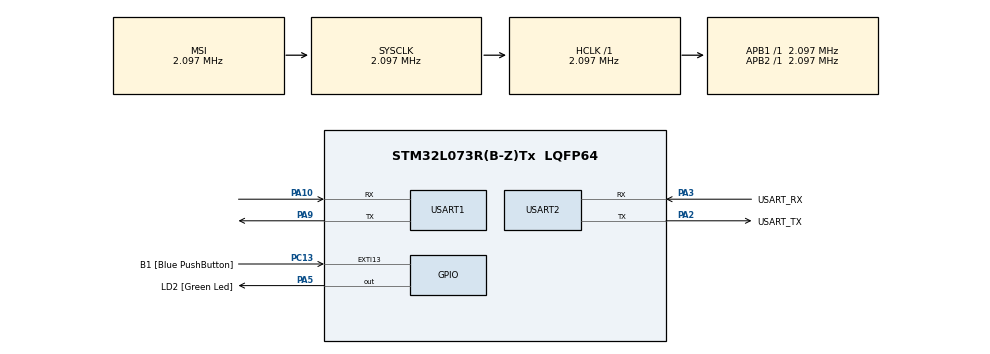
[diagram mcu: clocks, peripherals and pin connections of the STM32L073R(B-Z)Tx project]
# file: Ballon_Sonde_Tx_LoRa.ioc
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Mcu.Family=STM32L0
Mcu.Name=STM32L073R(B-Z)Tx
Mcu.Package=LQFP64
PA10.Mode=Asynchronous
PA10.Signal=USART1_RX
PA13.GPIO_Label=TMS
PA13.Mode=Serial_Wire
PA13.Signal=SYS_SWDIO
PA14.GPIO_Label=TCK
PA14.Mode=Serial_Wire
PA14.Signal=SYS_SWCLK
PA2.GPIO_Label=USART_TX
PA2.Mode=Asynchronous
PA2.Signal=USART2_TX
PA3.GPIO_Label=USART_RX
PA3.Mode=Asynchronous
PA3.Signal=USART2_RX
PA5.GPIO_Label=LD2 [Green Led]
PA5.Signal=GPIO_Output
PA9.Mode=Asynchronous
PA9.Signal=USART1_TX
PC13.GPIO_Label=B1 [Blue PushButton]
PC13.GPIO_ModeDefaultEXTI=GPIO_MODE_IT_FALLING
PC13.Signal=GPXTI13
PC14-OSC32_IN.Mode=LSE-External-Oscillator
PC14-OSC32_IN.Signal=RCC_OSC32_IN
PC15-OSC32_OUT.Mode=LSE-External-Oscillator
PC15-OSC32_OUT.Signal=RCC_OSC32_OUT
PH0-OSC_IN.GPIO_Label=MCO
PH0-OSC_IN.Mode=HSE-External-Clock-Source
PH0-OSC_IN.Signal=RCC_OSC_IN
ProjectManager.HeapSize=0x200
ProjectManager.StackSize=0x400
ProjectManager.TargetToolchain=TrueSTUDIO
RCC.AHBFreq_Value=2097000
RCC.APB1Freq_Value=2097000
RCC.APB1TimFreq_Value=2097000
RCC.APB2Freq_Value=2097000
RCC.APB2TimFreq_Value=2097000
RCC.HSE_VALUE=8000000
RCC.HSI16_VALUE=16000000
RCC.HSI48_VALUE=48000000
RCC.HSI_VALUE=16000000
RCC.MSI_VALUE=2097000
RCC.SYSCLKFreq_VALUE=2097000
RCC.VCOOutputFreq_Value=48000000
USART1.VirtualMode-Asynchronous=VM_ASYNC
USART2.VirtualMode-Asynchronous=VM_ASYNC
board=NUCLEO-L073RZ

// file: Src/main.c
/**
  ******************************************************************************
  * @file           : main.c
  * @brief          : Main program body
  ******************************************************************************
  ** This notice applies to any and all portions of this file
  * that are not between comment pairs USER CODE BEGIN and
  * USER CODE END. Other portions of this file, whether
  * inserted by the user or by software development tools
  * are owned by their respective copyright owners.
  *
  * COPYRIGHT(c) 2018 STMicroelectronics
  *
  * Redistribution and use in source and binary forms, with or without modification,
  * are permitted provided that the following conditions are met:
  *   1. Redistributions of source code must retain the above copyright notice,
  *      this list of conditions and the following disclaimer.
  *   2. Redistributions in binary form must reproduce the above copyright notice,
  *      this list of conditions and the following disclaimer in the documentation
  *      and/or other materials provided with the distribution.
  *   3. Neither the name of STMicroelectronics nor the names of its contributors
  *      may be used to endorse or promote products derived from this software
  *      without specific prior written permission.
  *
  * THIS SOFTWARE IS PROVIDED BY THE COPYRIGHT HOLDERS AND CONTRIBUTORS "AS IS"
  * AND ANY EXPRESS OR IMPLIED WARRANTIES, INCLUDING, BUT NOT LIMITED TO, THE
  * IMPLIED WARRANTIES OF MERCHANTABILITY AND FITNESS FOR A PARTICULAR PURPOSE ARE
  * DISCLAIMED. IN NO EVENT SHALL THE COPYRIGHT HOLDER OR CONTRIBUTORS BE LIABLE
  * FOR ANY DIRECT, INDIRECT, INCIDENTAL, SPECIAL, EXEMPLARY, OR CONSEQUENTIAL
  * DAMAGES (INCLUDING, BUT NOT LIMITED TO, PROCUREMENT OF SUBSTITUTE GOODS OR
  * SERVICES; LOSS OF USE, DATA, OR PROFITS; OR BUSINESS INTERRUPTION) HOWEVER
  * CAUSED AND ON ANY THEORY OF LIABILITY, WHETHER IN CONTRACT, STRICT LIABILITY,
  * OR TORT (INCLUDING NEGLIGENCE OR OTHERWISE) ARISING IN ANY WAY OUT OF THE USE
  * OF THIS SOFTWARE, EVEN IF ADVISED OF THE POSSIBILITY OF SUCH DAMAGE.
  *
  ******************************************************************************
  */
#include "main.h"
#include "stm32l0xx_hal.h"

UART_HandleTypeDef huart1;
UART_HandleTypeDef huart2;

/* USER CODE BEGIN PV */
/* Private variables ---------------------------------------------------------*/
UART_HandleTypeDef huart2; // destinataire PC
UART_HandleTypeDef huart1; // destinataire LoRa

/* USER CODE END PV */

void SystemClock_Config(void);
static void MX_GPIO_Init(void);
static void MX_USART2_UART_Init(void);
static void MX_USART1_UART_Init(void);
void ConfigLoRaClick(void);
void ConversionEnASCII(char TabChar[33], int T, int H, int P, int X, int Y, int Z);
char HexaChar(int NbrbaseDix);
void AjouterUneValeurDansTrame(char Trame[45],  char TabValeurASCII[33]);
void EnvoisLoRa(int T, int H, int P, int X, int Y, int Z, char Trame[45]);

/* USER CODE BEGIN PFP */
/* Private function prototypes -----------------------------------------------*/

/* USER CODE END PFP */

int main(void)
{

	//char trame3[] = "radio tx 0A\r\n";
	char TrameATTx[45];
	int T, H, P, X, Y, Z;

  /* MCU Configuration----------------------------------------------------------*/

  /* Reset of all peripherals, Initializes the Flash interface and the Systick. */
  HAL_Init();

  /* Configure the system clock */
  SystemClock_Config();

  /* Initialize all configured peripherals */
  MX_GPIO_Init();
  MX_USART2_UART_Init();
  MX_USART1_UART_Init();

  /* Infinite loop */
  /* USER CODE BEGIN WHILE */
  ConfigLoRaClick();
  T = 0;
  H = 0;
  P = 0;
  X = 0;
  Y = 0;
  Z = 0;

  while (1)
  {
	  EnvoisLoRa(T, H, P, X, Y, Z, TrameATTx);
	  T = T + 1;
	  H = H + 1;
	  P = P + 10;
	  X = X + 10;
	  Y = Y + 10;
	  Z = Z + 10;
	  HAL_Delay(10000); //J'envois toutes les 1 sec

  /* USER CODE END WHILE */

  }

}

void SystemClock_Config(void)
{

  RCC_OscInitTypeDef RCC_OscInitStruct;
  RCC_ClkInitTypeDef RCC_ClkInitStruct;
  RCC_PeriphCLKInitTypeDef PeriphClkInit;

    /**Configure the main internal regulator output voltage
    */
  __HAL_PWR_VOLTAGESCALING_CONFIG(PWR_REGULATOR_VOLTAGE_SCALE1);

    /**Initializes the CPU, AHB and APB busses clocks
    */
  RCC_OscInitStruct.OscillatorType = RCC_OSCILLATORTYPE_MSI;
  RCC_OscInitStruct.MSIState = RCC_MSI_ON;
  RCC_OscInitStruct.MSICalibrationValue = 0;
  RCC_OscInitStruct.MSIClockRange = RCC_MSIRANGE_5;
  RCC_OscInitStruct.PLL.PLLState = RCC_PLL_NONE;
  if (HAL_RCC_OscConfig(&RCC_OscInitStruct) != HAL_OK)
  {
    _Error_Handler(__FILE__, __LINE__);
  }

    /**Initializes the CPU, AHB and APB busses clocks
    */
  RCC_ClkInitStruct.ClockType = RCC_CLOCKTYPE_HCLK|RCC_CLOCKTYPE_SYSCLK
                              |RCC_CLOCKTYPE_PCLK1|RCC_CLOCKTYPE_PCLK2;
  RCC_ClkInitStruct.SYSCLKSource = RCC_SYSCLKSOURCE_MSI;
  RCC_ClkInitStruct.AHBCLKDivider = RCC_SYSCLK_DIV1;
  RCC_ClkInitStruct.APB1CLKDivider = RCC_HCLK_DIV1;
  RCC_ClkInitStruct.APB2CLKDivider = RCC_HCLK_DIV1;

  if (HAL_RCC_ClockConfig(&RCC_ClkInitStruct, FLASH_LATENCY_0) != HAL_OK)
  {
    _Error_Handler(__FILE__, __LINE__);
  }

  PeriphClkInit.PeriphClockSelection = RCC_PERIPHCLK_USART1|RCC_PERIPHCLK_USART2;
  PeriphClkInit.Usart1ClockSelection = RCC_USART1CLKSOURCE_PCLK2;
  PeriphClkInit.Usart2ClockSelection = RCC_USART2CLKSOURCE_PCLK1;
  if (HAL_RCCEx_PeriphCLKConfig(&PeriphClkInit) != HAL_OK)
  {
    _Error_Handler(__FILE__, __LINE__);
  }

    /**Configure the Systick interrupt time
    */
  HAL_SYSTICK_Config(HAL_RCC_GetHCLKFreq()/1000);

    /**Configure the Systick
    */
  HAL_SYSTICK_CLKSourceConfig(SYSTICK_CLKSOURCE_HCLK);

  /* SysTick_IRQn interrupt configuration */
  HAL_NVIC_SetPriority(SysTick_IRQn, 0, 0);
}

/* USART1 init function */
static void MX_USART1_UART_Init(void)
{

  huart1.Instance = USART1;
  huart1.Init.BaudRate = 57600;
  huart1.Init.WordLength = UART_WORDLENGTH_8B;
  huart1.Init.StopBits = UART_STOPBITS_1;
  huart1.Init.Parity = UART_PARITY_NONE;
  huart1.Init.Mode = UART_MODE_TX_RX;
  huart1.Init.HwFlowCtl = UART_HWCONTROL_NONE;
  huart1.Init.OverSampling = UART_OVERSAMPLING_16;
  huart1.Init.OneBitSampling = UART_ONE_BIT_SAMPLE_DISABLE;
  huart1.AdvancedInit.AdvFeatureInit = UART_ADVFEATURE_NO_INIT;
  if (HAL_UART_Init(&huart1) != HAL_OK)
  {
    _Error_Handler(__FILE__, __LINE__);
  }

}

/* USART2 init function */
static void MX_USART2_UART_Init(void)
{

  huart2.Instance = USART2;
  huart2.Init.BaudRate = 57600;
  huart2.Init.WordLength = UART_WORDLENGTH_8B;
  huart2.Init.StopBits = UART_STOPBITS_1;
  huart2.Init.Parity = UART_PARITY_NONE;
  huart2.Init.Mode = UART_MODE_TX_RX;
  huart2.Init.HwFlowCtl = UART_HWCONTROL_NONE;
  huart2.Init.OverSampling = UART_OVERSAMPLING_16;
  huart2.Init.OneBitSampling = UART_ONE_BIT_SAMPLE_DISABLE;
  huart2.AdvancedInit.AdvFeatureInit = UART_ADVFEATURE_NO_INIT;
  if (HAL_UART_Init(&huart2) != HAL_OK)
  {
    _Error_Handler(__FILE__, __LINE__);
  }

}

/** Configure pins as
        * Analog
        * Input
        * Output
        * EVENT_OUT
        * EXTI
*/
static void MX_GPIO_Init(void)
{

  GPIO_InitTypeDef GPIO_InitStruct;

  /* GPIO Ports Clock Enable */
  __HAL_RCC_GPIOC_CLK_ENABLE();
  __HAL_RCC_GPIOH_CLK_ENABLE();
  __HAL_RCC_GPIOA_CLK_ENABLE();

  /*Configure GPIO pin Output Level */
  HAL_GPIO_WritePin(LD2_GPIO_Port, LD2_Pin, GPIO_PIN_RESET);

  /*Configure GPIO pin : B1_Pin */
  GPIO_InitStruct.Pin = B1_Pin;
  GPIO_InitStruct.Mode = GPIO_MODE_IT_FALLING;
  GPIO_InitStruct.Pull = GPIO_NOPULL;
  HAL_GPIO_Init(B1_GPIO_Port, &GPIO_InitStruct);

  /*Configure GPIO pin : LD2_Pin */
  GPIO_InitStruct.Pin = LD2_Pin;
  GPIO_InitStruct.Mode = GPIO_MODE_OUTPUT_PP;
  GPIO_InitStruct.Pull = GPIO_NOPULL;
  GPIO_InitStruct.Speed = GPIO_SPEED_FREQ_LOW;
  HAL_GPIO_Init(LD2_GPIO_Port, &GPIO_InitStruct);

}

void _Error_Handler(char *file, int line)
{
  while(1)
  {
  }
}

void ConfigLoRaClick(void)
{
	char trame[] = "sys factoryRESET\r\n";
	char trame1[] = "mac pause\r\n";
	char trame2[] = "radio set wdt 0\r\n";
	char trame3[] = "Configuration du Module LoRa : OK\r\n";

	//Remise a l'etat d'usine du module
	HAL_UART_Transmit(&huart1, (uint8_t*) trame, (uint16_t) sizeof(trame), HAL_MAX_DELAY);
	HAL_Delay(4000);

	//Verifiaction de la capacitИ de trasmision
	HAL_UART_Transmit(&huart1, (uint8_t*) trame1, (uint16_t) sizeof(trame1), HAL_MAX_DELAY);
	HAL_Delay(4000);

	//Wacth Dog desactive
	HAL_UART_Transmit(&huart1, (uint8_t*) trame2, (uint16_t) sizeof(trame2), HAL_MAX_DELAY);
	HAL_Delay(4000);

	HAL_UART_Transmit(&huart2, (uint8_t*) trame3, (uint16_t) sizeof(trame3), HAL_MAX_DELAY);
}

void ConversionEnASCII(char TabChar[33], int T, int H, int P, int X, int Y, int Z)
{
    int digit1, digit2, digit3, digit4, digit5, digit6, signe = 0;

    //Tranformation de la temperature en caractere
    if(T > 0)
    {
        signe = 10;
        digit1 = T / 100;
        digit2 = (T - (digit1*100)) / 10;
        digit3 = T - ((digit1 * 100) + (digit2 * 10));

        TabChar[0] = HexaChar(signe);
        TabChar[1] = HexaChar(digit1);
        TabChar[2] = HexaChar(digit2);
        TabChar[3] = HexaChar(digit3);
    }
    else
    {
        signe = 15;
        T = T * (-1);
        digit1 = T / 100;
        digit2 = (T - (digit1*100)) / 10;
        digit3 = T - ((digit1 * 100) + (digit2 * 10));

        //Insertion dans le tableau
        TabChar[0] = HexaChar(signe);
        TabChar[1] = HexaChar(digit1);
        TabChar[2] = HexaChar(digit2);
        TabChar[3] = HexaChar(digit3);
    }

    //Tranformation de l'humidite en caractere
    if(H > 0)
    {
        signe = 10;
        digit1 = H / 100;
        digit2 = (H - (digit1*100)) / 10;
        digit3 = H - ((digit1 * 100) + (digit2 * 10));

        TabChar[4] = HexaChar(signe);
        TabChar[5] = HexaChar(digit1);
        TabChar[6] = HexaChar(digit2);
        TabChar[7] = HexaChar(digit3);
    }
    else
    {
        signe = 15;
        H = H * (-1);
        digit1 = H / 100;
        digit2 = (H - (digit1*100)) / 10;
        digit3 = H - ((digit1 * 100) + (digit2 * 10));

        //Insertion dans le tableau
        TabChar[4] = HexaChar(signe);
        TabChar[5] = HexaChar(digit1);
        TabChar[6] = HexaChar(digit2);
        TabChar[7] = HexaChar(digit3);
    }

    //Tranformation de la pression en caractere
    if(P > 0)
    {
        signe = 10;
        digit1 = P / 100000;
        digit2 = (P - (digit1 * 100000)) / 10000;
        digit3 = (P - ((digit1 * 100000) + (digit2 * 10000)))/1000;
        digit4 = (P - ((digit1 * 100000) + (digit2 * 10000) + (digit3 * 1000))) / 100;
        digit5 = (P - ((digit1 * 100000) + (digit2 * 10000) + (digit3 * 1000) + (digit4 *100))) / 10;
        digit6 = P - ((digit1 * 100000) + (digit2 * 10000) + (digit3 * 1000) + (digit4 *100) + (digit5 * 10));

        TabChar[8] = HexaChar(signe);
        TabChar[9] = HexaChar(digit1);
        TabChar[10] = HexaChar(digit2);
        TabChar[11] = HexaChar(digit3);
        TabChar[12] = HexaChar(digit4);
        TabChar[13] = HexaChar(digit5);
        TabChar[14] = HexaChar(digit6);
    }
    else
    {
        signe = 15;
        H = H * (-1);
        digit1 = P / 100000;
        digit2 = (P - (digit1 * 100000)) / 10000;
        digit3 = (P - ((digit1 * 100000) + (digit2 * 10000)))/1000;
        digit4 = (P - ((digit1 * 100000) + (digit2 * 10000) + (digit3 * 1000))) / 100;
        digit5 = (P - ((digit1 * 100000) + (digit2 * 10000) + (digit3 * 1000) + (digit4 *100))) / 10;
        digit6 = P - ((digit1 * 100000) + (digit2 * 10000) + (digit3 * 1000) + (digit4 *100) + (digit5 * 10));

        TabChar[8] = HexaChar(signe);
        TabChar[9] = HexaChar(digit1);
        TabChar[10] = HexaChar(digit2);
        TabChar[11] = HexaChar(digit3);
        TabChar[12] = HexaChar(digit4);
        TabChar[13] = HexaChar(digit5);
        TabChar[14] = HexaChar(digit6);
    }

    //Tranformation de la positionX en caractere
    if(X > 0)
    {
        signe = 10;
        digit1 = X / 10000;
        digit2 = (X - (digit1 * 10000)) / 1000;
        digit3 = (X - ((digit1 * 10000) + (digit2 * 1000)))/100;
        digit4 = (X - ((digit1 * 10000) + (digit2 * 1000) + (digit3 * 100))) / 10;
        digit5 = (X - ((digit1 * 10000) + (digit2 * 1000) + (digit3 * 100) + (digit4 *10)));

        TabChar[15] = HexaChar(signe);
        TabChar[16] = HexaChar(digit1);
        TabChar[17] = HexaChar(digit2);
        TabChar[18] = HexaChar(digit3);
        TabChar[19] = HexaChar(digit4);
        TabChar[20] = HexaChar(digit5);
    }
    else
    {
        signe = 15;
        X = X * (-1);
        digit1 = X / 10000;
        digit2 = (X - (digit1 * 10000)) / 1000;
        digit3 = (X - ((digit1 * 10000) + (digit2 * 1000)))/100;
        digit4 = (X - ((digit1 * 10000) + (digit2 * 10000) + (digit3 * 100))) / 10;
        digit5 = (X - ((digit1 * 10000) + (digit2 * 10000) + (digit3 * 100) + (digit4 *100)));

        TabChar[15] = HexaChar(signe);
        TabChar[16] = HexaChar(digit1);
        TabChar[17] = HexaChar(digit2);
        TabChar[18] = HexaChar(digit3);
        TabChar[19] = HexaChar(digit4);
        TabChar[20] = HexaChar(digit5);
    }

    //Tranformation de la positionY en caractere
    if(Y > 0)
    {
        signe = 10;
        digit1 = Y / 10000;
        digit2 = (Y - (digit1 * 10000)) / 1000;
        digit3 = (Y - ((digit1 * 10000) + (digit2 * 1000)))/100;
        digit4 = (Y - ((digit1 * 10000) + (digit2 * 1000) + (digit3 * 100))) / 10;
        digit5 = (Y - ((digit1 * 10000) + (digit2 * 1000) + (digit3 * 100) + (digit4 *10)));

        TabChar[21] = HexaChar(signe);
        TabChar[22] = HexaChar(digit1);
        TabChar[23] = HexaChar(digit2);
        TabChar[24] = HexaChar(digit3);
        TabChar[25] = HexaChar(digit4);
        TabChar[26] = HexaChar(digit5);
    }
    else
    {
        signe = 15;
        Y = Y * (-1);
        digit1 = Y / 10000;
        digit2 = (Y - (digit1 * 10000)) / 1000;
        digit3 = (Y - ((digit1 * 10000) + (digit2 * 1000)))/100;
        digit4 = (Y - ((digit1 * 10000) + (digit2 * 10000) + (digit3 * 100))) / 10;
        digit5 = (Y - ((digit1 * 10000) + (digit2 * 10000) + (digit3 * 100) + (digit4 *100)));

        TabChar[21] = HexaChar(signe);
        TabChar[22] = HexaChar(digit1);
        TabChar[23] = HexaChar(digit2);
        TabChar[24] = HexaChar(digit3);
        TabChar[25] = HexaChar(digit4);
        TabChar[26] = HexaChar(digit5);
    }

    //Tranformation de la positionZ en caractere
    if(Z > 0)
    {
        signe = 10;
        digit1 = Z / 10000;
        digit2 = (Z - (digit1 * 10000)) / 1000;
        digit3 = (Z - ((digit1 * 10000) + (digit2 * 1000)))/100;
        digit4 = (Z - ((digit1 * 10000) + (digit2 * 1000) + (digit3 * 100))) / 10;
        digit5 = (Z - ((digit1 * 10000) + (digit2 * 1000) + (digit3 * 100) + (digit4 *10)));

        TabChar[27] = HexaChar(signe);
        TabChar[28] = HexaChar(digit1);
        TabChar[29] = HexaChar(digit2);
        TabChar[30] = HexaChar(digit3);
        TabChar[31] = HexaChar(digit4);
        TabChar[32] = HexaChar(digit5);
    }
    else
    {
        signe = 15;
        Z = Z * (-1);
        digit1 = Z / 10000;
        digit2 = (Z - (digit1 * 10000)) / 1000;
        digit3 = (Z - ((digit1 * 10000) + (digit2 * 1000)))/100;
        digit4 = (Z - ((digit1 * 10000) + (digit2 * 10000) + (digit3 * 100))) / 10;
        digit5 = (Z - ((digit1 * 10000) + (digit2 * 10000) + (digit3 * 100) + (digit4 *100)));

        TabChar[27] = HexaChar(signe);
        TabChar[28] = HexaChar(digit1);
        TabChar[29] = HexaChar(digit2);
        TabChar[30] = HexaChar(digit3);
        TabChar[31] = HexaChar(digit4);
        TabChar[32] = HexaChar(digit5);
    }
}

char HexaChar(int NbrbaseDix)
{
    char lettre;

    switch(NbrbaseDix)
    {
        case 0 :
            lettre = '0';
            break;
        case 1 :
            lettre = '1';
            break;
        case 2 :
            lettre = '2';
            break;
        case 3 :
            lettre = '3';
            break;
        case 4 :
            lettre = '4';
            break;
        case 5 :
            lettre = '5';
            break;
        case 6 :
            lettre = '6';
            break;
        case 7 :
            lettre = '7';
            break;
        case 8 :
            lettre = '8';
            break;
        case 9 :
            lettre = '9';
            break;
        case 10 :
            lettre = 'A';
            break;
        case 11 :
            lettre = 'B';
            break;
        case 12 :
            lettre = 'C';
            break;
        case 13 :
            lettre = 'D';
            break;
        case 14 :
            lettre = 'E';
            break;
        case 15 :
            lettre = 'F';
            break;
        default :
            lettre = '!';
            break;
    }

    return lettre;
}

void AjouterUneValeurDansTrame(char Trame[45],  char TabValeurASCII[33])
{
    char EnteteTrame[] = "radio tx ";
    int i = 0, j = 0;

    while(EnteteTrame[i] != '\0')
    {
        Trame[i] = EnteteTrame[i];
        //printf("%c", Trame[i]);
        i++;
    }

    for(j = 0; j < 33; j++)
    {
        Trame[j+i] = TabValeurASCII[j];
        //printf(" %d", j);
    }

    Trame[42] = 'B';
    Trame[43] = '\r';
    Trame[44] = '\n';

    printf("\n");
}

void EnvoisLoRa(int T, int H, int P, int X, int Y, int Z, char Trame[45])
{
	char TabMesure[33];

	ConversionEnASCII(TabMesure, T, H, P, X, Y, Z);
	AjouterUneValeurDansTrame(Trame, TabMesure);

	HAL_UART_Transmit(&huart1, (uint8_t*) Trame, 45*(uint16_t) sizeof(char), HAL_MAX_DELAY);
	HAL_UART_Transmit(&huart2, (uint8_t*) Trame, 45*(uint16_t) sizeof(char), HAL_MAX_DELAY);
}

/************************ (C) COPYRIGHT STMicroelectronics *****END OF FILE****/
